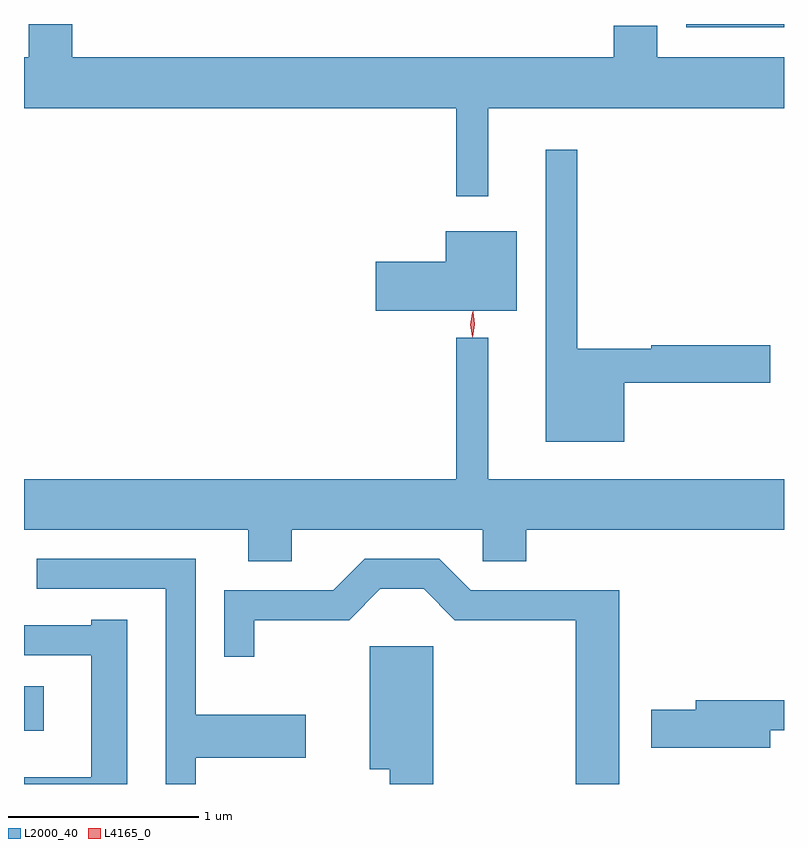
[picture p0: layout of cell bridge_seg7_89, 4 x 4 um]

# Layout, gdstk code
import gdstk
lib = gdstk.Library(unit=1e-6, precision=1e-09)
def R(c, l, rs):  # rectangles x0, y0, x1, y1
    for r in rs: c.add(gdstk.rectangle(r[:2], r[2:], *l))
def P(c, l, *ps):  # polygons
    for p in ps: c.add(gdstk.Polygon(p, *l))
L2000_40 = (2000, 40)
L4165_0 = (4165, 0)

bridge_seg7_89 = lib.new_cell('bridge_seg7_89')
R(bridge_seg7_89, L2000_40, [(1636.466,1753.218,1636.569,1753.454), (1639.951,1756.921,1640.466,1756.939)])
P(bridge_seg7_89, L2000_40, [(1638.909,1756.496),(1640.466,1756.496),(1640.466,1756.764),(1639.799,1756.764),(1639.799,1756.929),(1639.571,1756.929),(1639.571,1756.764),(1636.719,1756.764),(1636.719,1756.939),(1636.491,1756.939),(1636.491,1756.764),(1636.466,1756.764),(1636.466,1756.496),(1638.741,1756.496),(1638.741,1756.033),(1638.909,1756.033)],
  [(1639.624,1755.051),(1640.394,1755.051),(1640.394,1755.249),(1639.766,1755.249),(1639.766,1755.229),(1639.379,1755.229),(1639.379,1756.278),(1639.211,1756.278),(1639.211,1754.741),(1639.624,1754.741)],
  [(1639.059,1755.849),(1638.686,1755.849),(1638.686,1755.689),(1638.316,1755.689),(1638.316,1755.431),(1639.059,1755.431)],
  [(1637.874,1754.276),(1638.881,1754.276),(1638.881,1754.111),(1639.109,1754.111),(1639.109,1754.276),(1640.466,1754.276),(1640.466,1754.544),(1638.909,1754.544),(1638.909,1755.288),(1638.741,1755.288),(1638.741,1754.544),(1636.466,1754.544),(1636.466,1754.276),(1637.646,1754.276),(1637.646,1754.111),(1637.874,1754.111)],
  [(1637.369,1753.076),(1637.949,1753.076),(1637.949,1753.304),(1637.369,1753.304),(1637.369,1754.124),(1636.533,1754.124),(1636.533,1753.966),(1637.211,1753.966),(1637.211,1752.939),(1637.369,1752.939)],
  [(1639.599,1753.959),(1638.817,1753.959),(1638.652,1754.124),(1638.259,1754.124),(1638.094,1753.959),(1637.521,1753.959),(1637.521,1753.608),(1637.679,1753.608),(1637.679,1753.801),(1638.177,1753.801),(1638.342,1753.966),(1638.569,1753.966),(1638.734,1753.801),(1639.371,1753.801),(1639.371,1752.939),(1639.599,1752.939)],
  [(1637.009,1753.804),(1636.821,1753.804),(1636.821,1753.774),(1636.466,1753.774),(1636.466,1753.616),(1636.821,1753.616),(1636.821,1752.974),(1636.466,1752.974),(1636.466,1752.939),(1637.009,1752.939)],
  [(1638.619,1753.664),(1638.286,1753.664),(1638.286,1753.016),(1638.391,1753.016),(1638.391,1752.939),(1638.619,1752.939)],
  [(1640.394,1753.221),(1640.466,1753.221),(1640.466,1753.379),(1640.001,1753.379),(1640.001,1753.329),(1639.766,1753.329),(1639.766,1753.131),(1640.394,1753.131)])
P(bridge_seg7_89, L4165_0, [(1638.828,1755.29),(1638.828,1755.29),(1638.819,1755.358),(1638.829,1755.425),(1638.83,1755.426),(1638.83,1755.425),(1638.839,1755.358),(1638.829,1755.29)],
  [(1638.824,1755.293),(1638.815,1755.356),(1638.824,1755.419),(1638.825,1755.42),(1638.826,1755.419),(1638.835,1755.356),(1638.826,1755.293),(1638.825,1755.293)])

lib.write_gds('bridge_seg7_89.gds')
